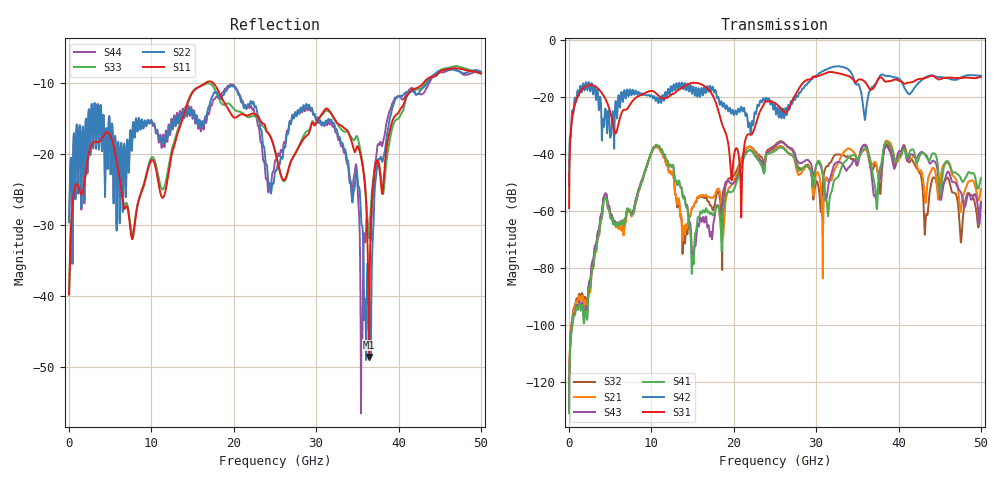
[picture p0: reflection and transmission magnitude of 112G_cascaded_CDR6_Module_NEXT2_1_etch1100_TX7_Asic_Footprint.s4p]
! Created Tue Feb 26 22:25:54 2019
# hz S ma R 50
! 4 Port Network Data from SP1.SP block
! freq  magS11  angS11  magS12  angS12  magS13  angS13  magS14  angS14
!  magS21  angS21  magS22  angS22  magS23  angS23  magS24  angS24
!  magS31  angS31  magS32  angS32  magS33  angS33  magS34  angS34
!  magS41  angS41  magS42  angS42  magS43  angS43  magS44  angS44
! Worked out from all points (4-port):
!   5000 points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, 10 MHz to 50 GHz, reference 50 ohm
!   strongest paths, dB at 10 MHz, 12.51 GHz, 25.01 GHz, 37.51 GHz, 50 GHz:
!     S31: -59.1, -19.1, -22.3, -14.0, -13.0
!     S42: -51.3, -18.1, -23.3, -13.9, -12.7
!     S41: -131.1, -44.5, -38.9, -52.3, -48.7
!     S43: -130.4, -44.4, -37.5, -51.7, -57.2
!     S21: -129.0, -47.1, -38.3, -47.3, -52.4
!     S32: -128.4, -47.1, -37.0, -47.2, -56.9
!   lowest |S11| = -48.6 dB at 36.4 GHz (marker M1), VSWR 1.01, Z = 49.6 - j0.0713 ohm
!   |S11| at or under -10 dB: start of sweep to 16.5 GHz; 17.53 GHz to 43 GHz (25.47 GHz wide, 84.2 % of centre)
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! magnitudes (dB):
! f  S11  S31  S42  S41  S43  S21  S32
! 10 MHz  -39.8  -59.1  -51.3  -131.1  -130.4  -129.0  -128.4
! 1.69 GHz  -25.3  -17.2  -15.5  -95.2  -94.3  -91.4  -90.5
! 10.47 GHz  -21.7  -18.6  -21.1  -37.4  -37.3  -37.8  -37.7
! 15.01 GHz  -11.3  -15.2  -17.4  -75.8  -77.2  -58.7  -59.0
! 20.88 GHz  -14.4  -58.8  -23.6  -44.5  -43.9  -42.5  -41.9
! 36.4 GHz  -48.6  -16.9  -18.7  -40.1  -40.5  -41.1  -42.0
! 50 GHz  -8.6  -13.0  -12.7  -48.7  -57.2  -52.4  -56.9
